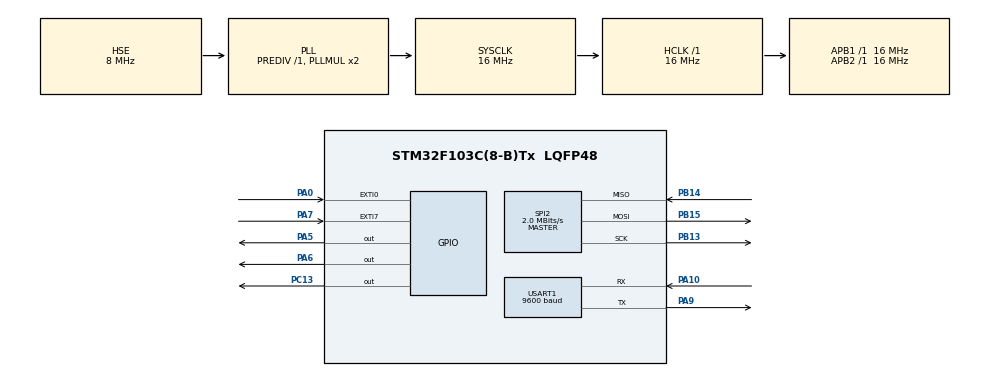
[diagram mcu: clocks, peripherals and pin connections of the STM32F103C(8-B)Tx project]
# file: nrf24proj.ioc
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Mcu.Family=STM32F1
Mcu.Name=STM32F103C(8-B)Tx
Mcu.Package=LQFP48
NVIC.EXTI0_IRQn=true\:1\:0\:true\:false\:true\:true\:true
NVIC.EXTI9_5_IRQn=true\:1\:0\:true\:false\:true\:true\:true
NVIC.PriorityGroup=NVIC_PRIORITYGROUP_4
NVIC.USART1_IRQn=true\:2\:0\:true\:false\:true\:true\:true
PA0-WKUP.Signal=GPXTI0
PA10.Mode=Asynchronous
PA10.Signal=USART1_RX
PA13.Mode=Trace_Asynchronous_SW
PA13.Signal=SYS_JTMS-SWDIO
PA14.Mode=Trace_Asynchronous_SW
PA14.Signal=SYS_JTCK-SWCLK
PA5.Signal=GPIO_Output
PA6.Signal=GPIO_Output
PA7.Signal=GPXTI7
PA9.Mode=Asynchronous
PA9.Signal=USART1_TX
PB13.Mode=Full_Duplex_Master
PB13.Signal=SPI2_SCK
PB14.Mode=Full_Duplex_Master
PB14.Signal=SPI2_MISO
PB15.Mode=Full_Duplex_Master
PB15.Signal=SPI2_MOSI
PB3.Mode=Trace_Asynchronous_SW
PB3.Signal=SYS_JTDO-TRACESWO
PC13-TAMPER-RTC.Signal=GPIO_Output
PD0-OSC_IN.Mode=HSE-External-Oscillator
PD0-OSC_IN.Signal=RCC_OSC_IN
PD1-OSC_OUT.Mode=HSE-External-Oscillator
PD1-OSC_OUT.Signal=RCC_OSC_OUT
ProjectManager.HeapSize=0x200
ProjectManager.StackSize=0x400
ProjectManager.TargetToolchain=MDK-ARM V5
RCC.AHBFreq_Value=16000000
RCC.APB1Freq_Value=16000000
RCC.APB1TimFreq_Value=16000000
RCC.APB2Freq_Value=16000000
RCC.APB2TimFreq_Value=16000000
RCC.HCLKFreq_Value=16000000
RCC.PLLSourceVirtual=RCC_PLLSOURCE_HSE
RCC.SYSCLKFreq_VALUE=16000000
RCC.SYSCLKSource=RCC_SYSCLKSOURCE_PLLCLK
RCC.USBFreq_Value=16000000
SPI2.BaudRatePrescaler=SPI_BAUDRATEPRESCALER_8
SPI2.CalculateBaudRate=2.0 MBits/s
SPI2.Direction=SPI_DIRECTION_2LINES
SPI2.Mode=SPI_MODE_MASTER
SPI2.VirtualType=VM_MASTER
USART1.BaudRate=9600
USART1.VirtualMode=VM_ASYNC
board=custom

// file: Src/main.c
/* USER CODE BEGIN Header */
/**
  ******************************************************************************
  * @file           : main.c
  * @brief          : Main program body
  ******************************************************************************
  * @attention
  *
  * <h2><center>&copy; Copyright (c) 2019 STMicroelectronics.
  * All rights reserved.</center></h2>
  *
  * This software component is licensed by ST under BSD 3-Clause license,
  * the "License"; You may not use this file except in compliance with the
  * License. You may obtain a copy of the License at:
  *                        opensource.org/licenses/BSD-3-Clause
  *
  ******************************************************************************
  */
/* USER CODE END Header */

#include "main.h"

/* USER CODE BEGIN Includes */

#include "nrf24.h"
#include "nrf24_hal.h"

/* USER CODE END Includes */

/* USER CODE BEGIN PTD */

#ifdef __GNUC__
/* With GCC/RAISONANCE, small printf (option LD Linker->Libraries->Small printf
   set to 'Yes') calls __io_putchar() */
#define PUTCHAR_PROTOTYPE int __io_putchar(int ch)
#else
#define PUTCHAR_PROTOTYPE int fputc(int ch, FILE *f)
#endif /* __GNUC__ */

/* USER CODE END PTD */

SPI_HandleTypeDef hspi2;

UART_HandleTypeDef huart1;

/* USER CODE BEGIN PV */

PUTCHAR_PROTOTYPE
{
  /* Place your implementation of fputc here */
  /* e.g. write a character to the USART1 and Loop until the end of transmission */
  HAL_UART_Transmit(&huart1, (uint8_t *)&ch, 1, 0xFFFF);

  return ch;
}

/* USER CODE END PV */

void SystemClock_Config(void);
static void MX_GPIO_Init(void);
static void MX_USART1_UART_Init(void);
static void MX_SPI2_Init(void);

/* USER CODE BEGIN 0 */
uint8_t payload_length;
uint32_t i,j,k;

// Buffer to store a payload of maximum width
uint8_t nRF24_payload[32];

// Pipe number
nRF24_RXResult pipe;

// Length of received payload
uint8_t payload_length;

// Helpers for transmit mode demo

// Timeout counter (depends on the CPU speed)
// Used for not stuck waiting for IRQ
#define nRF24_WAIT_TIMEOUT         (uint32_t)0x000FFFFF

// Result of packet transmission
typedef enum {
	nRF24_TX_ERROR  = (uint8_t)0x00, // Unknown error
	nRF24_TX_SUCCESS,                // Packet has been transmitted successfully
	nRF24_TX_TIMEOUT,                // It was timeout during packet transmit
	nRF24_TX_MAXRT                   // Transmit failed with maximum auto retransmit count
} nRF24_TXResult;

nRF24_TXResult tx_res;

// Function to transmit data packet
// input:
//   pBuf - pointer to the buffer with data to transmit
//   length - length of the data buffer in bytes
// return: one of nRF24_TX_xx values
nRF24_TXResult nRF24_TransmitPacket(uint8_t *pBuf, uint8_t length) {
	volatile uint32_t wait = nRF24_WAIT_TIMEOUT;
	uint8_t status;

	// Deassert the CE pin (in case if it still high)
	nRF24_CE_L();

	// Transfer a data from the specified buffer to the TX FIFO
	nRF24_WritePayload(pBuf, length);

	// Start a transmission by asserting CE pin (must be held at least 10us)
	nRF24_CE_H();

	// Poll the transceiver status register until one of the following flags will be set:
	//   TX_DS  - means the packet has been transmitted
	//   MAX_RT - means the maximum number of TX retransmits happened
	// note: this solution is far from perfect, better to use IRQ instead of polling the status
	do {
		status = nRF24_GetStatus();
		if (status & (nRF24_FLAG_TX_DS | nRF24_FLAG_MAX_RT)) {
			break;
		}
	} while (wait--);

	// Deassert the CE pin (Standby-II --> Standby-I)
	nRF24_CE_L();

	if (!wait) {
		// Timeout
		return nRF24_TX_TIMEOUT;
	}

	// Check the flags in STATUS register
	printf("[");
	printf("%d",status);
	printf("] ");

	// Clear pending IRQ flags
    nRF24_ClearIRQFlags();

	if (status & nRF24_FLAG_MAX_RT) {
		// Auto retransmit counter exceeds the programmed maximum limit (FIFO is not removed)
		return nRF24_TX_MAXRT;
	}

	if (status & nRF24_FLAG_TX_DS) {
		// Successful transmission
		return nRF24_TX_SUCCESS;
	}

	// Some banana happens, a payload remains in the TX FIFO, flush it
	nRF24_FlushTX();

	return nRF24_TX_ERROR;
}

/* USER CODE END 0 */

int main(void)
{

  /* MCU Configuration--------------------------------------------------------*/

  /* Reset of all peripherals, Initializes the Flash interface and the Systick. */
  HAL_Init();

  /* Configure the system clock */
  SystemClock_Config();

  /* Initialize all configured peripherals */
  MX_GPIO_Init();
  MX_USART1_UART_Init();
  MX_SPI2_Init();
  /* USER CODE BEGIN 2 */

printf("\r\nSTM32F103RET6 is online.\r\n");

    // RX/TX disabled
    nRF24_CE_L();

		 HAL_GPIO_WritePin(GPIOC, GPIO_PIN_13, GPIO_PIN_SET);
		    // Configure the nRF24L01+
    printf("nRF24L01+ check: ");

    while (!nRF24_Check()) {
    	printf("FAIL\r\n");
			HAL_Delay(1000);
    }

	printf("OK\r\n");
		 HAL_GPIO_WritePin(GPIOC, GPIO_PIN_13, GPIO_PIN_RESET);
		  // Initialize the nRF24L01 to its default state
    nRF24_Init();

  /* USER CODE END 2 */

	// This is simple receiver with multiple RX pipes:
    //   - pipe#0 address: "WBC"
    //   - pipe#0 payload: 11 bytes
	//   - pipe#1 address: '0xE7 0x1C 0xE3'
    //   - pipe#1 payload: 5 bytes
    //   - pipe#4 address: '0xE7 0x1C 0xE6' (this is pipe#1 address with different last byte)
    //   - pipe#4 payload: 32 bytes (the maximum payload length)
	//   - RF channel: 115 (2515MHz)
	//   - data rate: 250kbps (minimum possible, to increase reception reliability)
	//   - CRC scheme: 2 byte

    // The transmitter sends packets of different length to the three different logical addresses,
    // cycling them one after another, that packets comes to different pipes (0, 1 and 4)

    // Disable ShockBurst for all RX pipes
    nRF24_DisableAA(0xFF);

    // Set RF channel
    nRF24_SetRFChannel(115);

    // Set data rate
    nRF24_SetDataRate(nRF24_DR_250kbps);

    // Set CRC scheme
    nRF24_SetCRCScheme(nRF24_CRC_2byte);

    // Set address width, its common for all pipes (RX and TX)
    nRF24_SetAddrWidth(3);

    // Configure RX PIPE#0
    static const uint8_t nRF24_ADDR0[] = { 0xE7, 0x1C, 0xE1};
		static const uint8_t nRF24_ADDR1[] = { 0xE7, 0x1C, 0xE2 };
		static const uint8_t nRF24_ADDR2[] = {  0xE3 };
		static const uint8_t nRF24_ADDR3[] = {  0xE4 };
		static const uint8_t nRF24_ADDR4[] = {  0xE5 };
		static const uint8_t nRF24_ADDR5[] = {  0xE6 };
    nRF24_SetAddr(nRF24_PIPE0, nRF24_ADDR0); // program address for RX pipe #0
		nRF24_SetAddr(nRF24_PIPE1, nRF24_ADDR1); // program address for RX pipe #1
		nRF24_SetAddr(nRF24_PIPE2, nRF24_ADDR2); // program address for RX pipe #2
		nRF24_SetAddr(nRF24_PIPE3, nRF24_ADDR3); // program address for RX pipe #3
		nRF24_SetAddr(nRF24_PIPE4, nRF24_ADDR4); // program address for RX pipe #4
		nRF24_SetAddr(nRF24_PIPE5, nRF24_ADDR5); // program address for RX pipe #5
    nRF24_SetRXPipe(nRF24_PIPE0, nRF24_AA_OFF, 6);
		nRF24_SetRXPipe(nRF24_PIPE1, nRF24_AA_OFF, 6);
		nRF24_SetRXPipe(nRF24_PIPE2, nRF24_AA_OFF, 6);
		nRF24_SetRXPipe(nRF24_PIPE3, nRF24_AA_OFF, 6);
		nRF24_SetRXPipe(nRF24_PIPE4, nRF24_AA_OFF, 6);
		nRF24_SetRXPipe(nRF24_PIPE5, nRF24_AA_OFF, 6);

    // Set operational mode (PRX == receiver)
    nRF24_SetOperationalMode(nRF24_MODE_RX);

    // Wake the transceiver
    nRF24_SetPowerMode(nRF24_PWR_UP);

    // Put the transceiver to the RX mode
    nRF24_CE_H();

    // The main loop
    while (1) {
    	//
    	// Constantly poll the status of the RX FIFO and get a payload if FIFO is not empty
    	//
    	// This is far from best solution, but it's ok for testing purposes
    	// More smart way is to use the IRQ pin :)
    	//
    	if (nRF24_GetStatus_RXFIFO() != nRF24_STATUS_RXFIFO_EMPTY) {
    		// Get a payload from the transceiver
    		pipe = nRF24_ReadPayload(nRF24_payload, &payload_length);

    		// Clear all pending IRQ flags
			nRF24_ClearIRQFlags();

			// Print a payload contents to UART
		//	printf("RCV PIPE#");
		//	printf("%d",pipe);
		//	printf(" PAYLOAD:>");
			printf("%d,%d,%d",nRF24_payload[0]*256+nRF24_payload[1],
				nRF24_payload[2]*256+nRF24_payload[3],
				nRF24_payload[4]*256+nRF24_payload[5]);
			printf("\r\n");
    	}
    }
  /* USER CODE END 3 */
}

void SystemClock_Config(void)
{
  RCC_OscInitTypeDef RCC_OscInitStruct = {0};
  RCC_ClkInitTypeDef RCC_ClkInitStruct = {0};

  /** Initializes the CPU, AHB and APB busses clocks
  */
  RCC_OscInitStruct.OscillatorType = RCC_OSCILLATORTYPE_HSE;
  RCC_OscInitStruct.HSEState = RCC_HSE_ON;
  RCC_OscInitStruct.HSEPredivValue = RCC_HSE_PREDIV_DIV1;
  RCC_OscInitStruct.HSIState = RCC_HSI_ON;
  RCC_OscInitStruct.PLL.PLLState = RCC_PLL_ON;
  RCC_OscInitStruct.PLL.PLLSource = RCC_PLLSOURCE_HSE;
  RCC_OscInitStruct.PLL.PLLMUL = RCC_PLL_MUL2;
  if (HAL_RCC_OscConfig(&RCC_OscInitStruct) != HAL_OK)
  {
    Error_Handler();
  }
  /** Initializes the CPU, AHB and APB busses clocks
  */
  RCC_ClkInitStruct.ClockType = RCC_CLOCKTYPE_HCLK|RCC_CLOCKTYPE_SYSCLK
                              |RCC_CLOCKTYPE_PCLK1|RCC_CLOCKTYPE_PCLK2;
  RCC_ClkInitStruct.SYSCLKSource = RCC_SYSCLKSOURCE_PLLCLK;
  RCC_ClkInitStruct.AHBCLKDivider = RCC_SYSCLK_DIV1;
  RCC_ClkInitStruct.APB1CLKDivider = RCC_HCLK_DIV1;
  RCC_ClkInitStruct.APB2CLKDivider = RCC_HCLK_DIV1;

  if (HAL_RCC_ClockConfig(&RCC_ClkInitStruct, FLASH_LATENCY_0) != HAL_OK)
  {
    Error_Handler();
  }
}

static void MX_SPI2_Init(void)
{

  /* SPI2 parameter configuration*/
  hspi2.Instance = SPI2;
  hspi2.Init.Mode = SPI_MODE_MASTER;
  hspi2.Init.Direction = SPI_DIRECTION_2LINES;
  hspi2.Init.DataSize = SPI_DATASIZE_8BIT;
  hspi2.Init.CLKPolarity = SPI_POLARITY_LOW;
  hspi2.Init.CLKPhase = SPI_PHASE_1EDGE;
  hspi2.Init.NSS = SPI_NSS_SOFT;
  hspi2.Init.BaudRatePrescaler = SPI_BAUDRATEPRESCALER_8;
  hspi2.Init.FirstBit = SPI_FIRSTBIT_MSB;
  hspi2.Init.TIMode = SPI_TIMODE_DISABLE;
  hspi2.Init.CRCCalculation = SPI_CRCCALCULATION_DISABLE;
  hspi2.Init.CRCPolynomial = 10;
  if (HAL_SPI_Init(&hspi2) != HAL_OK)
  {
    Error_Handler();
  }

}

static void MX_USART1_UART_Init(void)
{

  huart1.Instance = USART1;
  huart1.Init.BaudRate = 256000;
  huart1.Init.WordLength = UART_WORDLENGTH_8B;
  huart1.Init.StopBits = UART_STOPBITS_1;
  huart1.Init.Parity = UART_PARITY_NONE;
  huart1.Init.Mode = UART_MODE_TX_RX;
  huart1.Init.HwFlowCtl = UART_HWCONTROL_NONE;
  huart1.Init.OverSampling = UART_OVERSAMPLING_16;
  if (HAL_UART_Init(&huart1) != HAL_OK)
  {
    Error_Handler();
  }

}

static void MX_GPIO_Init(void)
{
  GPIO_InitTypeDef GPIO_InitStruct = {0};

  /* GPIO Ports Clock Enable */
  __HAL_RCC_GPIOC_CLK_ENABLE();
  __HAL_RCC_GPIOD_CLK_ENABLE();
  __HAL_RCC_GPIOA_CLK_ENABLE();
  __HAL_RCC_GPIOB_CLK_ENABLE();

  /*Configure GPIO pin Output Level */
  HAL_GPIO_WritePin(GPIOC, GPIO_PIN_13, GPIO_PIN_RESET);

  /*Configure GPIO pin Output Level */
  HAL_GPIO_WritePin(GPIOA, GPIO_PIN_5|GPIO_PIN_6, GPIO_PIN_RESET);

  /*Configure GPIO pin : PC13 */
  GPIO_InitStruct.Pin = GPIO_PIN_13;
  GPIO_InitStruct.Mode = GPIO_MODE_OUTPUT_PP;
  GPIO_InitStruct.Pull = GPIO_NOPULL;
  GPIO_InitStruct.Speed = GPIO_SPEED_FREQ_LOW;
  HAL_GPIO_Init(GPIOC, &GPIO_InitStruct);

  /*Configure GPIO pins : PA0 PA7 */
  GPIO_InitStruct.Pin = GPIO_PIN_0|GPIO_PIN_7;
  GPIO_InitStruct.Mode = GPIO_MODE_IT_RISING;
  GPIO_InitStruct.Pull = GPIO_NOPULL;
  HAL_GPIO_Init(GPIOA, &GPIO_InitStruct);

  /*Configure GPIO pins : PA5 PA6 */
  GPIO_InitStruct.Pin = GPIO_PIN_5|GPIO_PIN_6;
  GPIO_InitStruct.Mode = GPIO_MODE_OUTPUT_PP;
  GPIO_InitStruct.Pull = GPIO_NOPULL;
  GPIO_InitStruct.Speed = GPIO_SPEED_FREQ_LOW;
  HAL_GPIO_Init(GPIOA, &GPIO_InitStruct);

  /* EXTI interrupt init*/
  HAL_NVIC_SetPriority(EXTI0_IRQn, 1, 0);
  HAL_NVIC_EnableIRQ(EXTI0_IRQn);

  HAL_NVIC_SetPriority(EXTI9_5_IRQn, 1, 0);
  HAL_NVIC_EnableIRQ(EXTI9_5_IRQn);

}

void Error_Handler(void)
{
}

/************************ (C) COPYRIGHT STMicroelectronics *****END OF FILE****/
